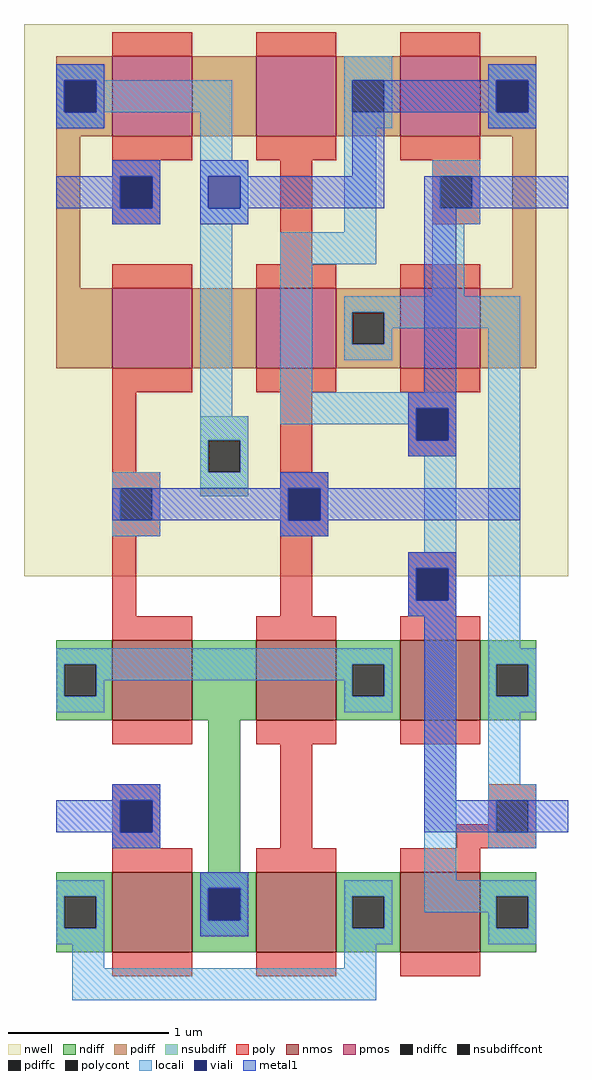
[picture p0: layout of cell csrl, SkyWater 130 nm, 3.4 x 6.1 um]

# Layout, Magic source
magic
tech sky130A
<< nwell >>
rect -255 160 85 505
<< nmos >>
rect -200 70 -150 120
rect -110 70 -60 120
rect -20 70 30 120
rect -200 -75 -150 -25
rect -110 -75 -60 -25
rect -20 -75 30 -25
<< pmos >>
rect -200 435 -150 485
rect -110 435 -60 485
rect -20 435 30 485
rect -200 290 -150 340
rect -110 290 -60 340
rect -20 290 30 340
<< ndiff >>
rect -235 105 -200 120
rect -235 85 -230 105
rect -210 85 -200 105
rect -235 70 -200 85
rect -150 70 -110 120
rect -60 105 -20 120
rect -60 85 -50 105
rect -30 85 -20 105
rect -60 70 -20 85
rect 30 105 65 120
rect 30 85 40 105
rect 60 85 65 105
rect 30 70 65 85
rect -140 -25 -120 70
rect -235 -40 -200 -25
rect -235 -60 -230 -40
rect -210 -60 -200 -40
rect -235 -75 -200 -60
rect -150 -35 -110 -25
rect -150 -55 -140 -35
rect -120 -55 -110 -35
rect -150 -75 -110 -55
rect -60 -40 -20 -25
rect -60 -60 -50 -40
rect -30 -60 -20 -40
rect -60 -75 -20 -60
rect 30 -40 65 -25
rect 30 -60 40 -40
rect 60 -60 65 -40
rect 30 -75 65 -60
<< pdiff >>
rect -235 470 -200 485
rect -235 450 -230 470
rect -210 450 -200 470
rect -235 435 -200 450
rect -150 435 -110 485
rect -60 470 -20 485
rect -60 450 -50 470
rect -30 450 -20 470
rect -60 435 -20 450
rect 30 470 65 485
rect 30 450 40 470
rect 60 450 65 470
rect 30 435 65 450
rect -235 340 -220 435
rect 50 340 65 435
rect -235 290 -200 340
rect -150 290 -110 340
rect -60 325 -20 340
rect -60 305 -50 325
rect -30 305 -20 325
rect -60 290 -20 305
rect 30 290 65 340
<< ndiffc >>
rect -230 85 -210 105
rect -50 85 -30 105
rect 40 85 60 105
rect -230 -60 -210 -40
rect -140 -55 -120 -35
rect -50 -60 -30 -40
rect 40 -60 60 -40
<< pdiffc >>
rect -230 450 -210 470
rect -50 450 -30 470
rect 40 450 60 470
rect -50 305 -30 325
<< nsubdiff >>
rect -145 245 -115 260
rect -145 225 -140 245
rect -120 225 -115 245
rect -145 210 -115 225
<< nsubdiffcont >>
rect -140 225 -120 245
<< poly >>
rect -200 485 -150 500
rect -110 485 -60 500
rect -20 485 30 500
rect -200 420 -150 435
rect -110 420 -60 435
rect -20 420 30 435
rect -200 410 -170 420
rect -200 390 -195 410
rect -175 390 -170 410
rect -200 380 -170 390
rect -95 355 -75 420
rect 0 410 30 420
rect 0 390 5 410
rect 25 390 30 410
rect 0 380 30 390
rect -200 340 -150 355
rect -110 340 -60 355
rect -20 340 30 355
rect -200 275 -150 290
rect -110 275 -60 290
rect -20 275 30 290
rect -200 225 -185 275
rect -200 215 -170 225
rect -200 195 -195 215
rect -175 195 -170 215
rect -95 225 -75 275
rect -15 265 15 275
rect -15 245 -10 265
rect 10 245 15 265
rect -15 235 15 245
rect -95 215 -65 225
rect -200 185 -170 195
rect -95 195 -90 215
rect -70 195 -65 215
rect -95 185 -65 195
rect -200 135 -185 185
rect -95 135 -75 185
rect -15 165 15 175
rect -15 145 -10 165
rect 10 145 15 165
rect -15 135 15 145
rect -200 120 -150 135
rect -110 120 -60 135
rect -20 120 30 135
rect -200 55 -150 70
rect -200 20 -170 30
rect -200 0 -195 20
rect -175 0 -170 20
rect -200 -10 -170 0
rect -200 -25 -150 -10
rect -110 55 -60 70
rect -20 55 30 70
rect -95 -10 -75 55
rect 35 20 65 30
rect 35 5 40 20
rect 15 0 40 5
rect 60 0 65 20
rect 15 -10 65 0
rect -110 -25 -60 -10
rect -20 -25 30 -10
rect -200 -90 -150 -75
rect -110 -90 -60 -75
rect -20 -90 30 -75
<< polycont >>
rect -195 390 -175 410
rect 5 390 25 410
rect -195 195 -175 215
rect -10 245 10 265
rect -90 195 -70 215
rect -10 145 10 165
rect -195 0 -175 20
rect 40 0 60 20
<< locali >>
rect -235 470 -205 480
rect -55 470 -25 485
rect -235 450 -230 470
rect -210 450 -125 470
rect -235 440 -205 450
rect -145 420 -125 450
rect -55 450 -50 470
rect -30 450 -25 470
rect -55 440 -25 450
rect 35 470 65 480
rect 35 450 40 470
rect 60 450 65 470
rect 35 440 65 450
rect -200 410 -170 420
rect -200 390 -195 410
rect -175 390 -170 410
rect -200 380 -170 390
rect -145 410 -115 420
rect -145 390 -140 410
rect -120 390 -115 410
rect -145 380 -115 390
rect -145 260 -125 380
rect -55 375 -35 440
rect -95 355 -35 375
rect 0 410 30 420
rect 0 390 5 410
rect 25 390 30 410
rect 0 380 30 390
rect -95 275 -75 355
rect 0 335 20 380
rect -55 325 55 335
rect -55 305 -50 325
rect -30 315 55 325
rect -30 305 -25 315
rect -55 295 -25 305
rect -95 265 15 275
rect -145 245 -115 260
rect -95 255 -10 265
rect -145 225 -140 245
rect -120 225 -115 245
rect -15 245 -10 255
rect 10 245 15 265
rect -15 235 15 245
rect -200 215 -170 225
rect -145 215 -115 225
rect -95 215 -65 225
rect -200 195 -195 215
rect -175 195 -170 215
rect -200 185 -170 195
rect -95 195 -90 215
rect -70 195 -65 215
rect -95 185 -65 195
rect -5 175 15 235
rect -15 165 15 175
rect -15 145 -10 165
rect 10 145 15 165
rect -15 135 15 145
rect -235 105 -25 115
rect -235 85 -230 105
rect -210 95 -50 105
rect -210 85 -205 95
rect -235 75 -205 85
rect -55 85 -50 95
rect -30 85 -25 105
rect -55 75 -25 85
rect -200 20 -170 30
rect -200 0 -195 20
rect -175 0 -170 20
rect -200 -10 -170 0
rect -235 -40 -205 -30
rect -235 -60 -230 -40
rect -210 -60 -205 -40
rect -235 -70 -205 -60
rect -145 -35 -115 -25
rect -5 -30 15 135
rect 35 115 55 315
rect 35 105 65 115
rect 35 85 40 105
rect 60 85 65 105
rect 35 75 65 85
rect 35 30 55 75
rect 35 20 65 30
rect 35 0 40 20
rect 60 0 65 20
rect 35 -10 65 0
rect -145 -55 -140 -35
rect -120 -55 -115 -35
rect -145 -65 -115 -55
rect -55 -40 -25 -30
rect -55 -60 -50 -40
rect -30 -60 -25 -40
rect -5 -40 65 -30
rect -5 -50 40 -40
rect -225 -85 -205 -70
rect -55 -70 -25 -60
rect 35 -60 40 -50
rect 60 -60 65 -40
rect 35 -70 65 -60
rect -55 -85 -35 -70
rect -225 -105 -35 -85
<< viali >>
rect -230 450 -210 470
rect 40 450 60 470
rect -195 390 -175 410
rect -140 390 -120 410
rect -10 245 10 265
rect -90 195 -70 215
rect -10 145 10 165
rect -195 0 -175 20
rect -140 -55 -120 -35
<< metal1 >>
rect -235 470 -205 480
rect 35 470 65 480
rect -235 450 -230 470
rect -210 450 -205 470
rect -235 440 -205 450
rect -50 450 40 470
rect 60 450 65 470
rect -200 410 -170 420
rect -235 390 -195 410
rect -175 390 -170 410
rect -200 380 -170 390
rect -145 410 -115 420
rect -50 410 -30 450
rect 35 440 65 450
rect -145 390 -140 410
rect -120 390 -30 410
rect -5 390 85 410
rect -145 380 -115 390
rect -5 275 15 390
rect -15 265 15 275
rect -15 245 -10 265
rect 10 245 15 265
rect -15 235 15 245
rect -95 215 -65 225
rect -200 195 -90 215
rect -70 195 55 215
rect -95 185 -65 195
rect -15 165 15 175
rect -15 145 -10 165
rect 10 145 15 165
rect -15 135 15 145
rect -200 20 -170 30
rect -235 0 -195 20
rect -175 0 -170 20
rect -5 20 15 135
rect -5 0 85 20
rect -200 -10 -170 0
rect -145 -35 -115 -25
rect -145 -55 -140 -35
rect -120 -55 -115 -35
rect -145 -65 -115 -55
<< end >>
